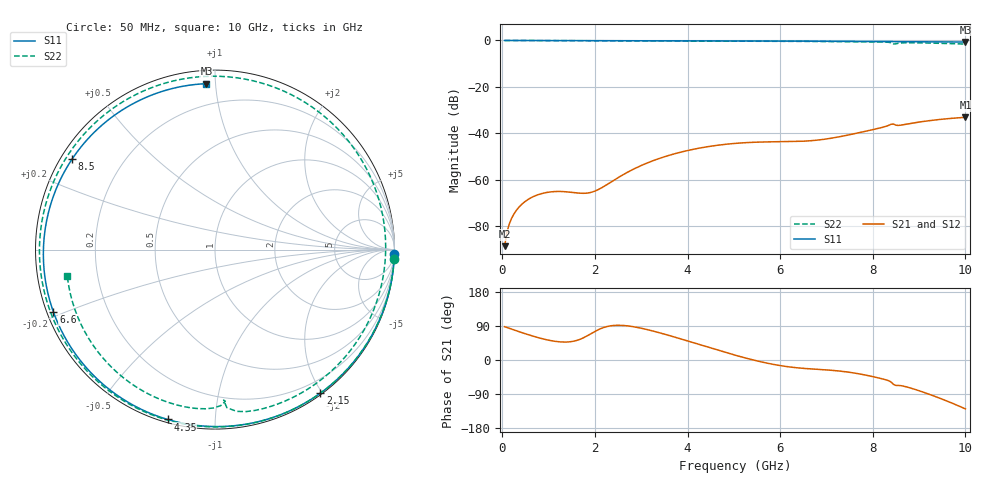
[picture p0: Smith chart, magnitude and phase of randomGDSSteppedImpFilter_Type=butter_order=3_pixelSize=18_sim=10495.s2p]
! freq	dB(S11)	phase(S11)	dB(S12)	phase(S12)
!  dB(S21)	phase(S21)	dB(S22)	phase(S22)
!S-par simulation data
#  GHz  S  DB  R 50
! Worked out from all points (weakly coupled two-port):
!   200 points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, 50 MHz to 10 GHz, reference 50 ohm
!   highest |S21| = -33.07 dB at 10 GHz (marker M1); lowest = -88.5 dB at 50 MHz (marker M2)
!   lowest |S11| = -0.7 dB at 10 GHz (marker M3), VSWR 25.92, Z = 3.66 + j47.4 ohm
!   |S11| at or under -10 dB: nowhere
!   |S22| runs from -1.6 to 0.0 dB; largest |S21 - S12| = 0
!   S11 on the Smith chart (normalised r, x): 50 MHz: 0, -89; 2.15 GHz: 0.02, -1.97; 4.35 GHz: 0.01, -0.76; 6.6 GHz: 0.02, -0.19; 8.5 GHz: 0.03, +0.29; 10 GHz: 0.07, +0.95
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0.05  -0.00 -1.3  -88.52 87.9  -88.52 87.9  -0.00 -3.1
0.15  -0.01 -3.8  -79.04 83.6  -79.04 83.6  -0.01 -9.2
0.4  -0.01 -10.2  -70.89 73.2  -70.89 73.2  -0.04 -24.3
0.7  -0.02 -17.8  -66.93 61.6  -66.93 61.6  -0.06 -42.2
1.2  -0.04 -30.4  -64.98 48.4  -64.98 48.4  -0.09 -71.0
1.75  -0.06 -44.0  -65.77 58.4  -65.77 58.4  -0.12 -100.8
2.15  -0.07 -53.8  -63.34 84.0  -63.34 84.0  -0.14 -121.4
2.8  -0.09 -69.4  -55.71 88.4  -55.71 88.4  -0.17 -153.3
3.4  -0.11 -83.5  -50.71 71.7  -50.71 71.7  -0.19 178.1
3.85  -0.13 -94.0  -48.08 55.8  -48.08 55.8  -0.22 156.5
4.35  -0.15 -105.6  -45.99 37.2  -45.99 37.2  -0.25 131.9
5.05  -0.19 -121.8  -44.26 12.0  -44.26 12.0  -0.29 96.1
5.75  -0.24 -138.2  -43.65 -9.1  -43.65 -9.1  -0.34 58.4
6.6  -0.31 -158.9  -43.24 -23.0  -43.24 -23.0  -0.41 11.7
6.7  -0.32 -161.4  -43.09 -23.8  -43.09 -23.8  -0.42 6.2
7.45  -0.40 178.8  -40.77 -31.6  -40.77 -31.6  -0.52 -33.9
7.95  -0.45 164.5  -38.61 -42.5  -38.61 -42.5  -0.61 -60.0
8.35  -0.50 152.3  -36.47 -55.0  -36.47 -55.0  -0.82 -82.4
8.5  -0.52 147.5  -36.45 -67.1  -36.45 -67.1  -1.44 -86.1
8.75  -0.54 139.3  -35.93 -71.7  -35.93 -71.7  -0.99 -98.6
9.15  -0.59 125.5  -34.70 -87.4  -34.70 -87.4  -1.09 -119.9
10  -0.67 92.9  -33.07 -129.1  -33.07 -129.1  -1.56 -169.9
